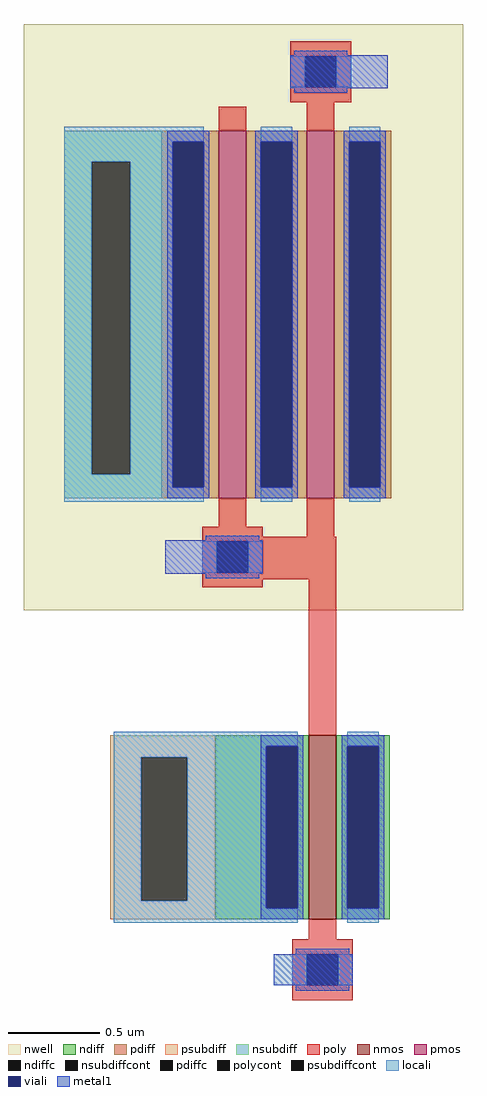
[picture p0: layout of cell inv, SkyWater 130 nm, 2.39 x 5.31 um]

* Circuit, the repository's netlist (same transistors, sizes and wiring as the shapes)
* SPICE3 file created from inv.ext - technology: sky130A

.subckt sky130_fd_pr__pfet_01v8_5YYKDE a_15_231# a_n81_n297# w_n161_n300# a_n125_n200#
+ VSUBS
X0 a_63_n200# a_15_231# a_n33_n200# w_n161_n300# sky130_fd_pr__pfet_01v8 ad=6.2e+11p pd=4.62e+06u as=6.6e+11p ps=4.66e+06u w=2e+06u l=150000u
X1 a_n33_n200# a_n81_n297# a_n125_n200# w_n161_n300# sky130_fd_pr__pfet_01v8 ad=0p pd=0u as=6.2e+11p ps=4.62e+06u w=2e+06u l=150000u
.ends

.subckt sky130_fd_pr__nfet_01v8_QQ4XG9 a_n73_n69# a_n33_n157# VSUBS
X0 a_15_n69# a_n33_n157# a_n73_n69# VSUBS sky130_fd_pr__nfet_01v8 ad=2.9e+11p pd=2.58e+06u as=2.9e+11p ps=2.58e+06u w=1e+06u l=150000u
.ends


* Top level circuit inv

Xsky130_fd_pr__pfet_01v8_5YYKDE_0 m1_18_0# m1_18_0# w_n254_408# w_n254_408# sky130_fd_pr__pfet_01v8_5YYKDE_0/VSUBS
+ sky130_fd_pr__pfet_01v8_5YYKDE
Xsky130_fd_pr__nfet_01v8_QQ4XG9_0 sky130_fd_pr__pfet_01v8_5YYKDE_0/VSUBS m1_18_0#
+ sky130_fd_pr__pfet_01v8_5YYKDE_0/VSUBS sky130_fd_pr__nfet_01v8_QQ4XG9
.end

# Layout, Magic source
magic
tech sky130A
magscale 1 2
<< nwell >>
rect -254 408 224 1046
<< ndiff >>
rect -46 72 -2 272
<< psubdiff >>
rect -160 248 -46 272
rect -160 92 -126 248
rect -76 92 -46 248
rect -160 72 -46 92
<< nsubdiff >>
rect -210 896 -104 930
rect -210 556 -180 896
rect -138 556 -104 896
rect -210 530 -104 556
<< psubdiffcont >>
rect -126 92 -76 248
<< nsubdiffcont >>
rect -180 556 -138 896
<< poly >>
rect 54 488 84 514
rect 6 442 86 488
rect 56 294 86 442
<< locali >>
rect -210 896 -92 934
rect -210 556 -180 896
rect -138 556 -92 896
rect -210 526 -92 556
rect -156 248 10 276
rect -156 92 -126 248
rect -76 92 10 248
rect -156 68 10 92
<< metal1 >>
rect 36 976 142 1012
rect -100 448 6 484
rect 18 0 104 34
use sky130_fd_pr__nfet_01v8_QQ4XG9  sky130_fd_pr__nfet_01v8_QQ4XG9_0
transform 1 0 71 0 1 141
box -73 -157 73 157
use sky130_fd_pr__pfet_01v8_5YYKDE  sky130_fd_pr__pfet_01v8_5YYKDE_0
transform 1 0 21 0 1 730
box -161 -300 161 300
<< end >>

# cell sky130_fd_pr__nfet_01v8_QQ4XG9: kit device sky130_fd_pr__nfet_01v8, w 1 l 0.150 m 1 nf 1 diffcov 100 polycov 100 guard 0 glc 0 grc 0 gtc 0 gbc 0 tbcov 100 rlcov 100 topc 0 botc 1 poverlap 0 doverlap 1 lmin 0.15 wmin 0.42 compatible {sky130_fd_pr__nfet_01v8 sky130_fd_pr__nfet_01v8_lvt sky130_fd_bs_flash__special_sonosfet_star sky130_fd_pr__nfet_g5v0d10v5 sky130_fd_pr__nfet_05v0_nvt sky130_fd_pr__nfet_03v3_nvt} full_metal 0 viasrc 100 viadrn 100 viagate 100 viagb 0 viagr 0 viagl 0 viagt 0

# cell sky130_fd_pr__pfet_01v8_5YYKDE: kit device sky130_fd_pr__pfet_01v8, w 2 l 0.15 m 1 nf 2 diffcov 100 polycov 100 guard 0 glc 0 grc 0 gtc 0 gbc 0 tbcov 100 rlcov 100 topc 0 botc 0 poverlap 0 doverlap 1 lmin 0.15 wmin 0.42 compatible {sky130_fd_pr__pfet_01v8 sky130_fd_pr__pfet_01v8_lvt sky130_fd_pr__pfet_01v8_hvt sky130_fd_pr__pfet_g5v0d10v5} full_metal 0 viasrc 100 viadrn 100 viagate 100 viagb 0 viagr 0 viagl 0 viagt 0
